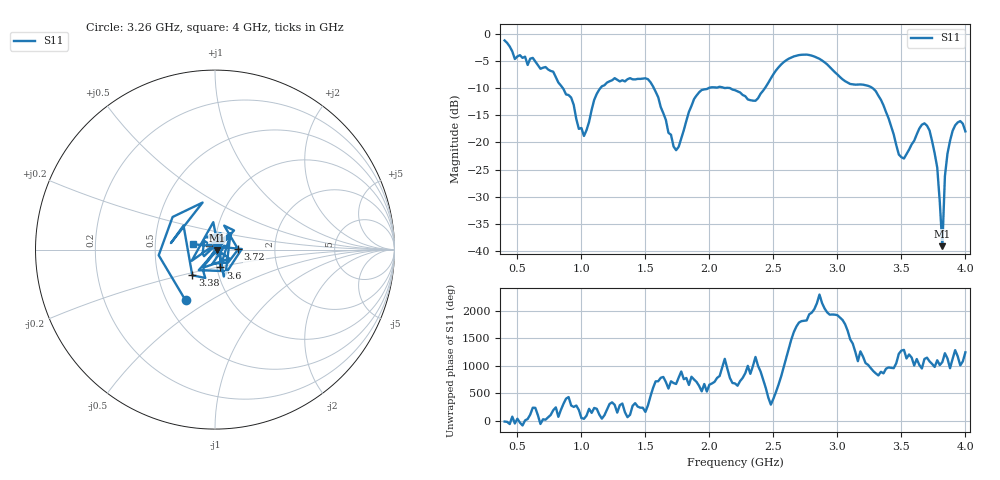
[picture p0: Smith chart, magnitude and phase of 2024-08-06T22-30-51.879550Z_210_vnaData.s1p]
!Created with skrf (http://scikit-rf.org).
# Hz S RI R 50.0
!freq ReS11 ImS11
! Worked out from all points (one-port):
!   181 points, 400 MHz to 4 GHz, reference 50 ohm
!   lowest |S11| = -39.2 dB at 3.82 GHz (marker M1), VSWR 1.02, Z = 51.1 - j0.222 ohm
!   |S11| at or under -10 dB: 856.5 MHz to 1.147 GHz (290.1 MHz wide, 29 % of centre); 1.567 GHz to 1.989 GHz (421.9 MHz wide, 23.7 % of centre); 3.278 GHz to end of sweep (the widest 3 of 4)
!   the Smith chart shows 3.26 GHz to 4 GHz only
!   S11 on the Smith chart (normalised r, x): 3.26 GHz: 0.62, -0.39; 3.38 GHz: 0.75, -0.22; 3.6 GHz: 1.04, -0.21; 3.72 GHz: 1.30, +0.00; 4 GHz: 0.78, +0.05
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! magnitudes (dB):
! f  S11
! 400 MHz  -1.1
! 480 MHz  -4.6
! 860 MHz  -10.1
! 1.02 GHz  -18.8
! 1.14 GHz  -10.2
! 1.3 GHz  -8.7
! 1.52 GHz  -8.3
! 1.72 GHz  -20.7
! 1.76 GHz  -20.8
! 1.92 GHz  -10.7
! 2.2 GHz  -10.3
! 2.36 GHz  -12.3
! 2.66 GHz  -4.1
! 2.86 GHz  -4.5
! 3.1 GHz  -9.2
! 3.26 GHz  -9.7
! 3.38 GHz  -14.4
! 3.48 GHz  -22.2
! 3.56 GHz  -21.3
! 3.6 GHz  -19.7
! 3.66 GHz  -16.7
! 3.72 GHz  -17.8
! 3.78 GHz  -24.6
! 3.82 GHz  -39.2
! 3.84 GHz  -26.2
! 3.86 GHz  -22.1
! 3.92 GHz  -16.8
! 4 GHz  -17.9
